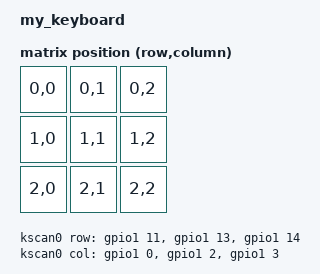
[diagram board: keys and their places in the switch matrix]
/*
 * Copyright (c) 2020 The ZMK Contributors
 *
 * SPDX-License-Identifier: MIT
 */

/dts-v1/;
/ {
    model = "my_keyboard";
    compatible = "my_keyboard";

    chosen {
        zmk,kscan = &kscan0;
        zmk,matrix_transform = &default_matrix_transform;
    };

    default_matrix_transform: keymap_transform_0 {
        compatible = "zmk,matrix-transform";
        rows = <3>;
        columns = <3>;
        map = <
            RC(0,0) RC(0,1) RC(0,2)
            RC(1,0) RC(1,1) RC(1,2)
            RC(2,0) RC(2,1) RC(2,2)
        >;
    };

    kscan0: kscan {
        compatible = "zmk,kscan-gpio-matrix";
        label = "KSCAN";
        row-gpios = <&gpio1 11 GPIO_ACTIVE_HIGH>,
                    <&gpio1 13 GPIO_ACTIVE_HIGH>,
                    <&gpio1 14 GPIO_ACTIVE_HIGH>;
        col-gpios = <&gpio1 0 GPIO_ACTIVE_HIGH>,
                    <&gpio1 2 GPIO_ACTIVE_HIGH>,
                    <&gpio1 3 GPIO_ACTIVE_HIGH>;
    };
};
